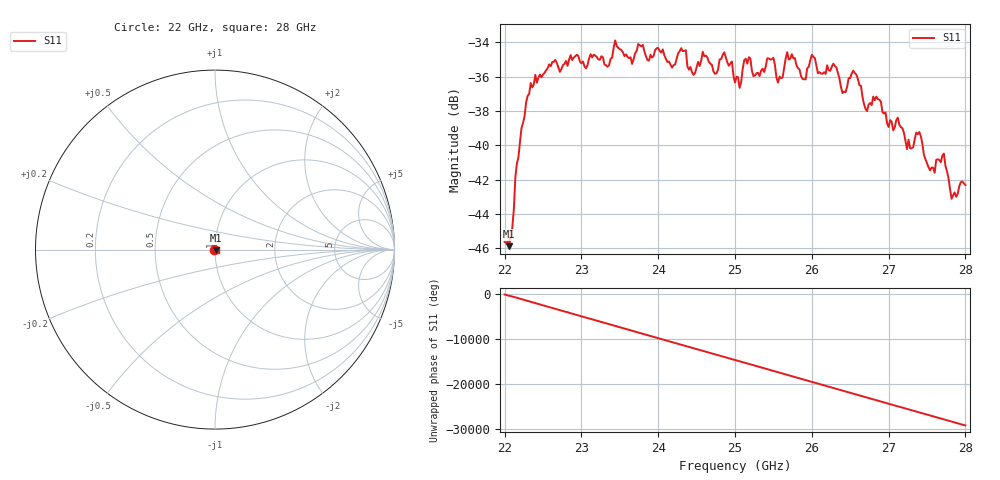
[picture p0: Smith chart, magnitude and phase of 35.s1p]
#  HZ  S  RI  R  50.00
! Rohde & Schwarz ZVA40 4Ports - Version 3.90 - 1145.1110k42 SN: 100403
! Date: 2023-10-04 10:35:32
! Measurement: S12
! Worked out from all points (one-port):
!   301 points, 22 GHz to 28 GHz, reference 50 ohm
!   lowest |S11| = -45.9 dB at 22.06 GHz (marker M1), VSWR 1.01, Z = 50.3 - j0.402 ohm
!   |S11| at or under -10 dB: start of sweep to end of sweep
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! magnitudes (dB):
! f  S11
! 22 GHz  -45.6
! 22.06 GHz  -45.9
! 22.22 GHz  -39.0
! 22.34 GHz  -36.4
! 22.76 GHz  -35.3
! 23.5 GHz  -34.4
! 24.26 GHz  -34.6
! 24.46 GHz  -35.9
! 24.58 GHz  -34.6
! 24.74 GHz  -35.8
! 24.86 GHz  -34.6
! 25 GHz  -36.3
! 25.18 GHz  -34.9
! 25.24 GHz  -36.0
! 25.5 GHz  -34.9
! 25.56 GHz  -36.4
! 25.76 GHz  -34.9
! 25.88 GHz  -36.1
! 26 GHz  -34.7
! 26.28 GHz  -35.2
! 26.4 GHz  -37.0
! 26.5 GHz  -36.1
! 27.26 GHz  -39.7
! 27.4 GHz  -39.2
! 27.6 GHz  -41.6
! 27.72 GHz  -40.5
! 27.82 GHz  -43.1
! 28 GHz  -42.3
